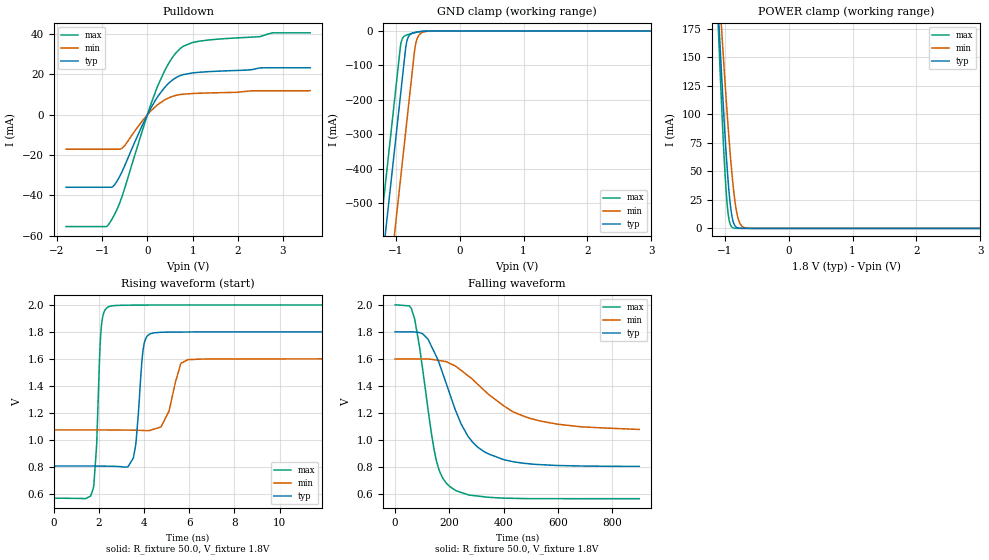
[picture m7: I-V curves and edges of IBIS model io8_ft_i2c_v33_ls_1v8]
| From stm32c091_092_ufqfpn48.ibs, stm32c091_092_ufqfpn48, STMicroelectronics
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[Model]   io8_ft_i2c_v33_ls_1v8
Model_type I/O_open_drain
Polarity   Non-Inverting
Enable   Active-Low
| CAP_THRESHOLD on pad IOFT is "UDTCAPC" :
| Rising=30.0% of vddiom   Falling=70.0% of vddiom
| C_comp min and max val. don't necessarily correlate with the min and max pvt
| but are the smallest and greatest pad capacitance found.
| var   typ   min   max
C_comp   2.20140pF  2.17990pF  2.25295pF
|C_comp_pulldown   2.20140pF  2.17990pF  2.25295pF
Vinl = 800.0mV
Vinh = 1.0V
Vmeas = 900.0mV   | Reference voltage for timing measurements
Cref  = 50.0pF   | Timing specification test load capacitance value
Rref  = 1.0MOhm   | Timing specification test load resistance value
Vref  = 990.0mV   | Timing specification test load voltage
[Model Spec]
| TIME_THRESHOLD on pin ZII2CV12 is "CMOS" :
| Rising=50.0% of vdd   Falling=50.0% of vdd
Vinl 728.70000mV 652.70000mV 817.70000mV
Vinh 1.06430V 953.30000mV 1.16330V
| variable   typ   min   max
[Temperature Range] 25.0 125.0 -40.0
| variable   typ   min   max
[Voltage Range] 1.8V 1.6V 2.0V
| variable   typ   min   max
[POWER Clamp Reference] 1.8V 1.6V 2.0V
| variable   typ   min   max
[GND Clamp Reference] 0V 0V 0V
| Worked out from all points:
|   slope of the pulldown table from 0 to 0.27 V, typ, clamps not added: 26.4 ohm
|   GND clamp passes 1 mA (typ) near -0.58 V on its own axis
|   POWER clamp passes 1 mA (typ) near -0.81 V on its own axis
|   rising waveform, R_fixture 50.0, V_fixture 1.8V: 20-80 % time 260ps typ, 503ps min, 202ps max; typ from 0.804 V to 1.8 V
|   falling waveform, R_fixture 50.0, V_fixture 1.8V: 20-80 % time 122ns typ, 210ns min, 63.7ns max; typ from 1.8 V to 0.804 V
[POWER Clamp]
-1.8V     1.053A     933.5mA    1.262A
-1.1V     191.1mA    222.7mA    177.1mA
-1.08V    169mA      204.2mA    149.9mA
-1.05V    136.9mA    176.9mA    110.9mA
-1.01V    96.55mA    141.6mA    64.02mA
-980mV    68.91mA    116.4mA    35.23mA
-940mV    37.57mA    84.83mA    10.65mA
-880mV    8.969mA    44.34mA    807.4uA
-830mV    1.697mA    20.19mA    75.79uA
-790mV    394.2uA    8.787mA    11.25uA
-670mV    4.467uA    374.2uA    36.56nA
3.6V      0A         0A         0A
[GND Clamp]
-1.8V     -1.676A    -1.92A     -1.532A
-1.24V    -723.6mA   -967.7mA   -579.5mA
-1.05V    -400.6mA   -644.7mA   -256.5mA
-920mV    -179.6mA   -423.7mA   -38.92mA
-890mV    -128.6mA   -372.7mA   -20.43mA
-850mV    -60.6mA    -304.7mA   -13.42mA
-830mV    -34.09mA   -270.7mA   -11.74mA
-800mV    -16.49mA   -219.7mA   -9.781mA
-690mV    -3.754mA   -41.06mA   -4.242mA
-640mV    -2.187mA   -13.34mA   -2.404mA
-570mV    -808.6uA   -3.187mA   -757.3uA
3.6V      509.6pA    49.06nA    363.2pA
| variable   typ   min   max
[Pullup Reference] 1.8V 1.6V 2.0V
| variable   typ   min   max
[Pulldown Reference] 0V 0V 0V
[Pulldown]
-1.8V     -35.95mA   -17.07mA   -55.42mA
-910mV    -35.95mA   -17.07mA   -55.42mA
-830mV    -35.95mA   -17.07mA   -53.42mA
-720mV    -34.49mA   -17.07mA   -49.08mA
-540mV    -27.18mA   -16.22mA   -39.07mA
-120mV    -5.598mA   -3.255mA   -8.496mA
240mV     9.353mA    5.171mA    14.85mA
490mV     15.96mA    8.523mA    26.14mA
750mV     19.54mA    10.04mA    33.17mA
1.37V     21.33mA    10.77mA    37.03mA
2.78V     23.24mA    11.8mA     40.53mA
3.6V      23.24mA    11.89mA    40.54mA
[Ramp]
dV/dt_r 597.45766mV/259.07543ps 316.64783mV/503.14431ps 860.77494mV/201.43993ps
dV/dt_f 597.31422mV/121.52188ns 313.25005mV/210.11925ns 860.77233mV/63.62411ns
R_load = 50.0
| Removed startup time: 0s 0s 0s  .
| Removed end time: 59.875ns.
[Rising Waveform]
R_fixture   = 50.0
V_fixture   = 1.8V
V_fixture_min = 1.6V
V_fixture_max = 2.0V
0s        804.2mV    1.072V     565.4mV
1.75ns    804.2mV    1.072V     639mV
1.9ns     803.9mV    1.072V     968.7mV
2.1ns     803.5mV    1.072V     1.828V
2.575ns   802.3mV    1.072V     1.993V
3.525ns   864.6mV    1.07V      1.998V
3.975ns   1.687V     1.068V     1.999V
4.425ns   1.793V     1.078V     1.999V
5.95ns    1.799V     1.594V     2V
59.87ns   1.8V       1.6V       2V
| Removed startup time: 0s 0s 0s  .
| Removed end time: 899.875ns.
[Falling Waveform]
R_fixture   = 50.0
V_fixture   = 1.8V
V_fixture_min = 1.6V
V_fixture_max = 2.0V
0s        1.8V       1.6V       2V
53ns      1.8V       1.6V       1.993V
72.48ns   1.8V       1.6V       1.894V
121.7ns   1.745V     1.599V     1.225V
149.6ns   1.63V      1.593V     872mV
201.3ns   1.344V     1.568V     655.7mV
267.9ns   1.03V      1.477V     595.2mV
343.9ns   897.5mV    1.339V     575.7mV
534.1ns   817.5mV    1.141V     565.7mV
899.9ns   804.5mV    1.078V     565.4mV
